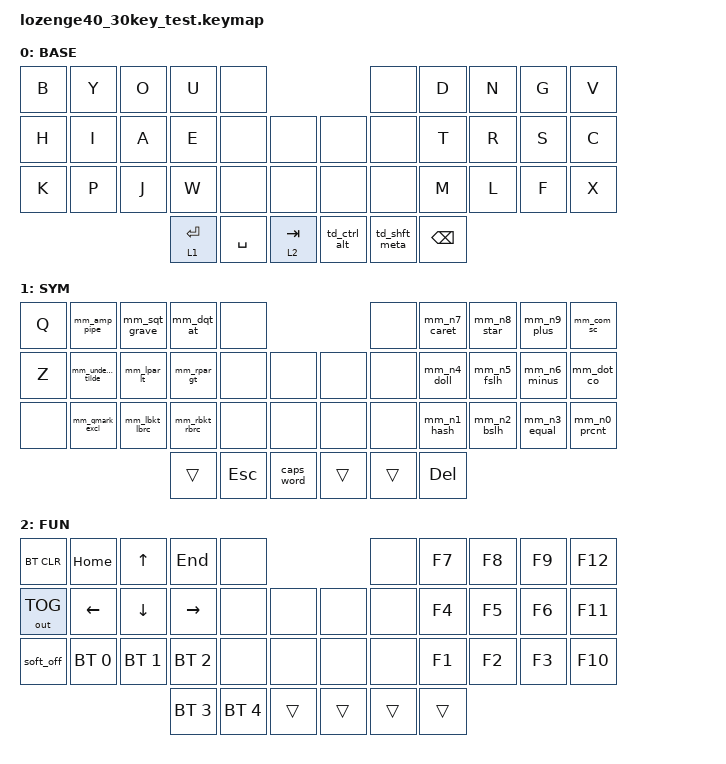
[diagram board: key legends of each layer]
/*
 * Copyright (c) 2020 The ZMK Contributors
 *
 * SPDX-License-Identifier: MIT
 */

#include <behaviors.dtsi>
#include <dt-bindings/zmk/keys.h>
#include <dt-bindings/zmk/bt.h>
#include <dt-bindings/zmk/ext_power.h>
#include <dt-bindings/zmk/outputs.h>

&lt {
    flavor = "hold-preferred";
    retro-tap;
}; 

/ {
    behaviors {
        // Tap Dance Definitions
        td_shft_meta: tap_dance_shft_meta {
            compatible = "zmk,behavior-tap-dance";
            #binding-cells = <0>;
            tapping-term-ms = <400>;
            bindings = <&kp LSHFT>, <&kp LMETA>, <&kp LS(LMETA)>;
        };

        td_ctrl_alt: tap_dance_ctrl_alt {
            compatible = "zmk,behavior-tap-dance";
            #binding-cells = <0>;
            tapping-term-ms = <400>;
            bindings = <&kp LCTRL>, <&kp LALT>, <&kp LC(LALT)>;
        };

        // Mod-Morph Definitions for "x/y" (Normal/Shifted)
        mm_amp_pipe: mm_amp_pipe {
            compatible = "zmk,behavior-mod-morph";
            #binding-cells = <0>;
            bindings = <&kp AMPS>, <&kp PIPE>;
            mods = <(MOD_LSFT|MOD_RSFT)>;
        };

        mm_sqt_grave: mm_sqt_grave {
            compatible = "zmk,behavior-mod-morph";
            #binding-cells = <0>;
            bindings = <&kp SQT>, <&kp GRAVE>;
            mods = <(MOD_LSFT|MOD_RSFT)>;
        };

        mm_dqt_at: mm_dqt_at {
            compatible = "zmk,behavior-mod-morph";
            #binding-cells = <0>;
            bindings = <&kp DQT>, <&kp AT>;
            mods = <(MOD_LSFT|MOD_RSFT)>;
        };

        mm_qmark_excl: mm_qmark_excl {
            compatible = "zmk,behavior-mod-morph";
            #binding-cells = <0>;
            bindings = <&kp QMARK>, <&kp EXCL>;
            mods = <(MOD_LSFT|MOD_RSFT)>;
        };

        mm_underscore_tilde: mm_underscore_tilde {
            compatible = "zmk,behavior-mod-morph";
            #binding-cells = <0>;
            bindings = <&kp UNDER>, <&kp TILDE>;
            mods = <(MOD_LSFT|MOD_RSFT)>;
        };

        // Numerical Morphs
        mm_n7_caret: mm_n7_caret { compatible = "zmk,behavior-mod-morph"; #binding-cells = <0>; bindings = <&kp N7>, <&kp CARET>; mods = <(MOD_LSFT|MOD_RSFT)>; };
        mm_n8_star:  mm_n8_star  { compatible = "zmk,behavior-mod-morph"; #binding-cells = <0>; bindings = <&kp N8>, <&kp STAR>;  mods = <(MOD_LSFT|MOD_RSFT)>; };
        mm_n9_plus:  mm_n9_plus  { compatible = "zmk,behavior-mod-morph"; #binding-cells = <0>; bindings = <&kp N9>, <&kp PLUS>;  mods = <(MOD_LSFT|MOD_RSFT)>; };
        mm_n4_doll:  mm_n4_doll  { compatible = "zmk,behavior-mod-morph"; #binding-cells = <0>; bindings = <&kp N4>, <&kp DLLR>;  mods = <(MOD_LSFT|MOD_RSFT)>; };
        mm_n5_fslh:  mm_n5_fslh  { compatible = "zmk,behavior-mod-morph"; #binding-cells = <0>; bindings = <&kp N5>, <&kp FSLH>;  mods = <(MOD_LSFT|MOD_RSFT)>; };
        mm_n6_minus: mm_n6_minus { compatible = "zmk,behavior-mod-morph"; #binding-cells = <0>; bindings = <&kp N6>, <&kp MINUS>; mods = <(MOD_LSFT|MOD_RSFT)>; };
        mm_n1_hash:  mm_n1_hash  { compatible = "zmk,behavior-mod-morph"; #binding-cells = <0>; bindings = <&kp N1>, <&kp HASH>;  mods = <(MOD_LSFT|MOD_RSFT)>; };
        mm_n2_bslh:  mm_n2_bslh  { compatible = "zmk,behavior-mod-morph"; #binding-cells = <0>; bindings = <&kp N2>, <&kp BSLH>;  mods = <(MOD_LSFT|MOD_RSFT)>; };
        mm_n3_equal: mm_n3_equal { compatible = "zmk,behavior-mod-morph"; #binding-cells = <0>; bindings = <&kp N3>, <&kp EQUAL>; mods = <(MOD_LSFT|MOD_RSFT)>; };
        mm_n0_prcnt: mm_n0_prcnt { compatible = "zmk,behavior-mod-morph"; #binding-cells = <0>; bindings = <&kp N0>, <&kp PERCENT>; mods = <(MOD_LSFT|MOD_RSFT)>; };

        // Punctuation Morphs
        mm_com_sc: mm_com_sc { compatible = "zmk,behavior-mod-morph"; #binding-cells = <0>; bindings = <&kp COMMA>, <&kp SEMI>; mods = <(MOD_LSFT|MOD_RSFT)>; };
        mm_dot_co: mm_dot_co { compatible = "zmk,behavior-mod-morph"; #binding-cells = <0>; bindings = <&kp DOT>, <&kp COLON>;   mods = <(MOD_LSFT|MOD_RSFT)>; };
        mm_lpar_lt: mm_lpar_lt { compatible = "zmk,behavior-mod-morph"; #binding-cells = <0>; bindings = <&kp LPAR>, <&kp LT>; mods = <(MOD_LSFT|MOD_RSFT)>; };
        mm_rpar_gt: mm_rpar_gt { compatible = "zmk,behavior-mod-morph"; #binding-cells = <0>; bindings = <&kp RPAR>, <&kp GT>; mods = <(MOD_LSFT|MOD_RSFT)>; };
        mm_lbkt_lbrc: mm_lbkt_lbrc { compatible = "zmk,behavior-mod-morph"; #binding-cells = <0>; bindings = <&kp LBKT>, <&kp LBRC>; mods = <(MOD_LSFT|MOD_RSFT)>; };
        mm_rbkt_rbrc: mm_rbkt_rbrc { compatible = "zmk,behavior-mod-morph"; #binding-cells = <0>; bindings = <&kp RBKT>, <&kp RBRC>; mods = <(MOD_LSFT|MOD_RSFT)>; };
    };

    keymap {
        compatible = "zmk,keymap";

        base_layer {
            display-name = "BASE";
            bindings = <
&kp B  &kp Y  &kp O  &kp U      &none                                 &none          &kp D     &kp N  &kp G  &kp V
&kp H  &kp I  &kp A  &kp E      &none      &none        &none         &none          &kp T     &kp R  &kp S  &kp C
&kp K  &kp P  &kp J  &kp W      &none      &none        &none         &none          &kp M     &kp L  &kp F  &kp X
                     &lt 1 RET  &kp SPACE  &lt 2 TAB    &td_ctrl_alt  &td_shft_meta  &kp BKSP
            >;
        };

        num_layer {
            display-name = "SYM";
            bindings = <
&kp Q  &mm_amp_pipe         &mm_sqt_grave  &mm_dqt_at     &none                          &none   &mm_n7_caret  &mm_n8_star  &mm_n9_plus   &mm_com_sc
&kp Z  &mm_underscore_tilde &mm_lpar_lt    &mm_rpar_gt    &none    &none         &none   &none   &mm_n4_doll   &mm_n5_fslh  &mm_n6_minus  &mm_dot_co
&none  &mm_qmark_excl       &mm_lbkt_lbrc  &mm_rbkt_rbrc  &none    &none         &none   &none   &mm_n1_hash   &mm_n2_bslh  &mm_n3_equal  &mm_n0_prcnt
                                           &trans         &kp ESC  &caps_word    &trans  &trans  &kp DEL
            >;
        };

        fun_layer {
            display-name = "FUN";
            bindings = <
&bt BT_CLR    &kp HOME      &kp UP        &kp END       &none                           &none   &kp F7     &kp F8  &kp F9  &kp F12
&out OUT_TOG  &kp LEFT      &kp DOWN      &kp RIGHT     &none         &none     &none   &none   &kp F4     &kp F5  &kp F6  &kp F11
&soft_off     &bt BT_SEL 0  &bt BT_SEL 1  &bt BT_SEL 2  &none         &none     &none   &none   &kp F1     &kp F2  &kp F3  &kp F10
                                          &bt BT_SEL 3  &bt BT_SEL 4  &trans    &trans  &trans  &trans
            >;
        };
    };
};6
